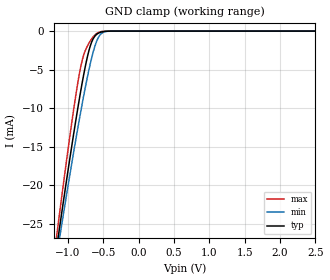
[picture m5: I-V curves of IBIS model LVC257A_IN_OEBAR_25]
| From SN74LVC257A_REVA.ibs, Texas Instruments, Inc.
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[Model]   LVC257A_IN_OEBAR_25
Model_type  Input
Vinl=0.7
Vinh=1.7
| variable   typ   min   max
C_comp   2.61pF   2.05pF   3.21pF
[Temperature Range]   40   100   -40
| Ambient temperature   25   85   -40
[Voltage range]   2.5   2.3   2.7
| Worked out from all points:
|   GND clamp passes 1 mA (typ) near -0.64 V on its own axis
[GND Clamp]
| LVC257A_IN_OEBAR_25
|   Voltage   I(typ)   I(min)   I(max)
-5.5V     -338.9mA   -314.3mA   -369mA
-1.17V    -28.73mA   -29.82mA   -27.27mA
-1.13V    -26.19mA   -27.5mA    -24.42mA
-1.095V   -23.98mA   -25.48mA   -21.95mA
-925mV    -13.65mA   -15.98mA   -10.52mA
-825mV    -8.06mA    -10.74mA   -4.88mA
-775mV    -5.531mA   -8.266mA   -3.027mA
-700mV    -2.416mA   -4.874mA   -1.51mA
-590mV    -396.4uA   -1.217mA   -293.2uA
-515mV    -88.16uA   -231.8uA   -44.89uA
-395mV    -4.232uA   -9.445uA   -775nA
2.5V      57.25pA    176.8pA    32.61pA
